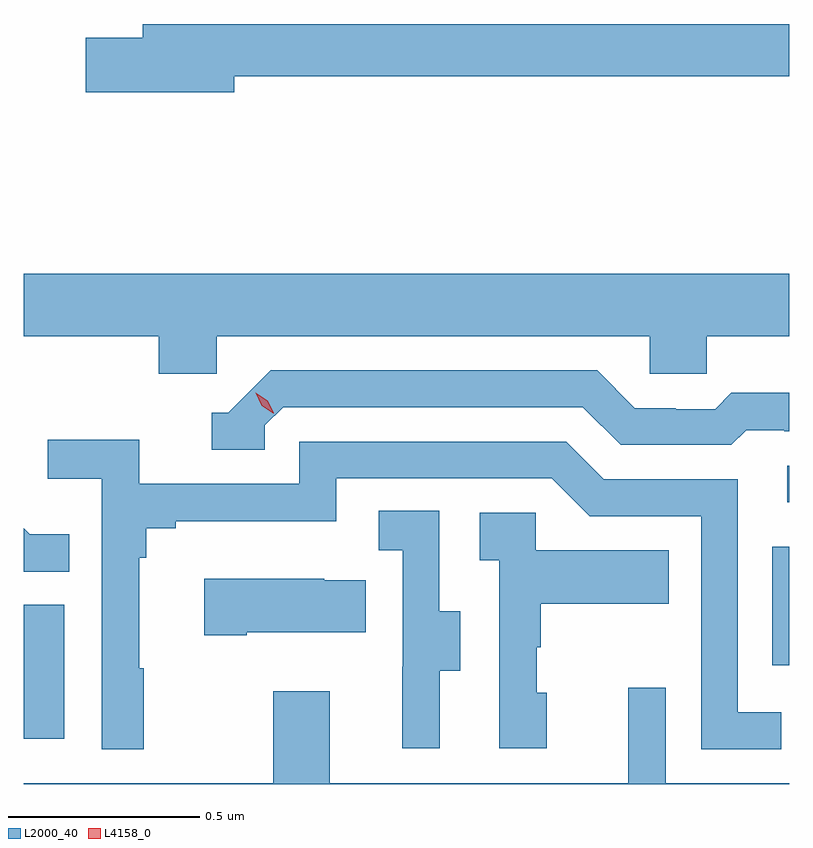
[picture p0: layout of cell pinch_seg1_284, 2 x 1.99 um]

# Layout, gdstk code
import gdstk
lib = gdstk.Library(unit=1e-6, precision=1e-09)
def R(c, l, rs):  # rectangles x0, y0, x1, y1
    for r in rs: c.add(gdstk.rectangle(r[:2], r[2:], *l))
def P(c, l, *ps):  # polygons
    for p in ps: c.add(gdstk.Polygon(p, *l))
L2000_40 = (2000, 40)
L4158_0 = (4158, 0)

pinch_seg1_284 = lib.new_cell('pinch_seg1_284')
R(pinch_seg1_284, L2000_40, [(904.434,542.688,904.54,543.039), (906.39,542.88,906.434,543.19), (906.429,543.306,906.434,543.402)])
P(pinch_seg1_284, L2000_40, [(904.984,544.42),(906.434,544.42),(906.434,544.556),(904.745,544.556),(904.745,544.52),(904.596,544.52),(904.596,544.378),(904.984,544.378)],
  [(904.938,543.74),(906.069,543.74),(906.069,543.642),(906.219,543.642),(906.219,543.74),(906.434,543.74),(906.434,543.904),(904.434,543.904),(904.434,543.74),(904.787,543.74),(904.787,543.642),(904.938,543.642)],
  [(905.064,543.507),(905.112,543.555),(905.895,543.555),(905.994,543.456),(906.283,543.456),(906.322,543.495),(906.421,543.495),(906.421,543.492),(906.434,543.492),(906.434,543.592),(906.283,543.592),(906.241,543.549),(906.138,543.549),(906.138,543.552),(906.031,543.552),(905.932,543.651),(905.079,543.651),(904.968,543.54),(904.925,543.54),(904.925,543.444),(905.064,543.444)],
  [(904.747,542.873),(904.735,542.873),(904.735,543.161),(904.754,543.161),(904.754,543.238),(904.831,543.238),(904.831,543.257),(905.25,543.257),(905.25,543.369),(905.814,543.369),(905.913,543.27),(906.204,543.27),(906.204,542.661),(906.413,542.661),(906.413,542.757),(906.3,542.757),(906.3,543.366),(905.95,543.366),(905.851,543.465),(905.154,543.465),(905.154,543.354),(904.736,543.354),(904.736,543.47),(904.497,543.47),(904.497,543.368),(904.638,543.368),(904.638,542.661),(904.747,542.661)],
  [(905.521,542.866),(905.575,542.866),(905.575,543.021),(905.52,543.021),(905.52,543.284),(905.361,543.284),(905.361,543.181),(905.424,543.181),(905.424,542.877),(905.423,542.877),(905.423,542.664),(905.521,542.664)],
  [(905.8,542.808),(905.775,542.808),(905.775,542.927),(905.785,542.927),(905.785,543.041),(906.119,543.041),(906.119,543.181),(905.772,543.181),(905.772,543.279),(905.625,543.279),(905.625,543.155),(905.676,543.155),(905.676,542.664),(905.8,542.664)],
  [(904.553,543.223),(904.449,543.223),(904.434,543.238),(904.434,543.124),(904.553,543.124)],
  [(905.017,542.966),(905.327,542.966),(905.327,543.103),(905.219,543.103),(905.219,543.106),(904.905,543.106),(904.905,542.959),(905.017,542.959)],
  [(906.434,542.572),(906.111,542.572),(906.111,542.821),(906.014,542.821),(906.014,542.572),(905.233,542.572),(905.233,542.812),(905.086,542.812),(905.086,542.572),(904.434,542.572),(904.434,542.57),(906.434,542.57)])
P(pinch_seg1_284, L4158_0, [(905.086,543.539),(905.056,543.559),(905.04,543.592),(905.04,543.593),(905.04,543.593),(905.071,543.572),(905.087,543.54),(905.087,543.539)])

lib.write_gds('pinch_seg1_284.gds')
